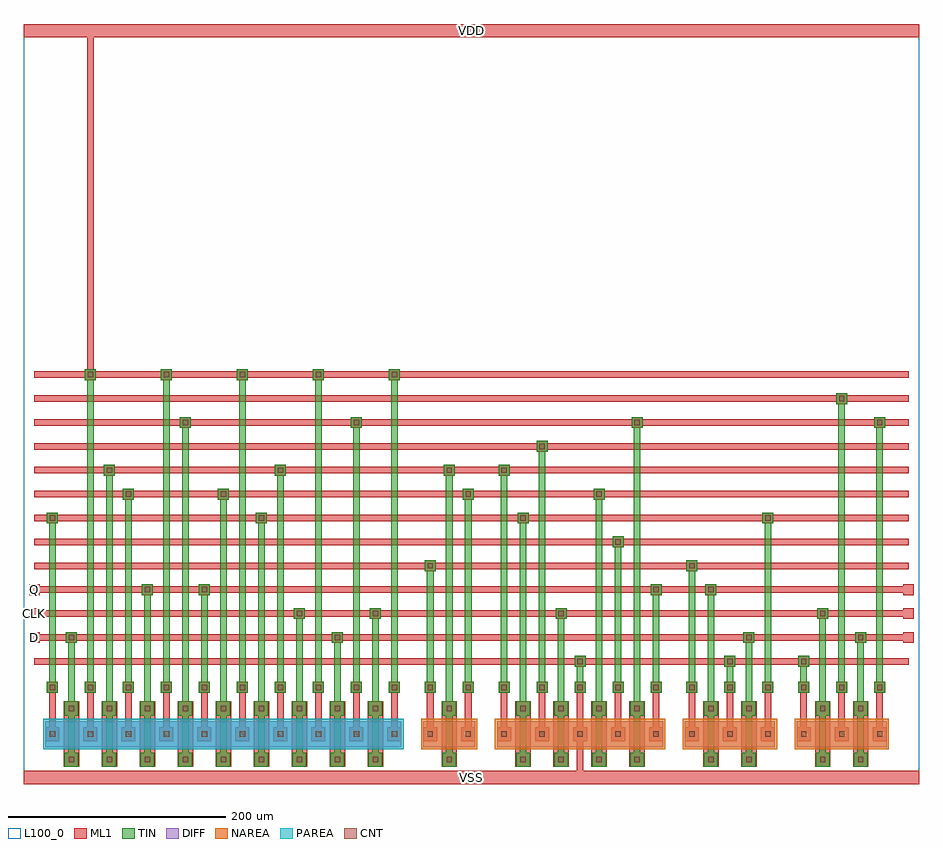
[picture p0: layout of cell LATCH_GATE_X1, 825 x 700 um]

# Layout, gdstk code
import gdstk
lib = gdstk.Library(unit=1e-6, precision=1e-09)
def R(c, l, rs):  # rectangles x0, y0, x1, y1
    for r in rs: c.add(gdstk.rectangle(r[:2], r[2:], *l))
def A(c, l, x, y, w, h, nx, ny, dx, dy):  # array of equal rectangles
    R(c, l, [(x+i*dx, y+j*dy, x+i*dx+w, y+j*dy+h) for i in range(nx) for j in range(ny)])
DIFF = (3, 0)
TIN = (5, 0)
CNT = (7, 0)
ML1 = (8, 0)
PAREA = (18, 0)
NAREA = (19, 0)
L100_0 = (100, 0)

latch_gate_x1 = lib.new_cell('LATCH_GATE_X1')
R(latch_gate_x1, DIFF, [(20,34,348,58), (368,34,416,58), (436,34,589,58), (609,34,692,58), (712,34,795,58)])
A(latch_gate_x1, TIN, 37.5, 16, 13, 13, 9, 2, 35, 47)
A(latch_gate_x1, TIN, 453.5, 16, 13, 13, 4, 2, 35, 47)
A(latch_gate_x1, TIN, 41, 28, 6, 37.5, 9, 1, 35, 0)
A(latch_gate_x1, TIN, 457, 28, 6, 37.5, 4, 1, 35, 0)
A(latch_gate_x1, TIN, 21.5, 84, 10, 10, 10, 1, 35, 0)
A(latch_gate_x1, TIN, 437.5, 84, 10, 10, 5, 1, 35, 0)
A(latch_gate_x1, TIN, 610.5, 84, 10, 10, 3, 1, 35, 0)
A(latch_gate_x1, TIN, 713.5, 84, 10, 10, 3, 1, 35, 0)
A(latch_gate_x1, TIN, 58.5, 89, 6, 288, 5, 1, 70, 0)
A(latch_gate_x1, TIN, 56.5, 372, 10, 10, 5, 1, 70, 0)
R(latch_gate_x1, TIN, [(385.5,16,398.5,29), (626.5,16,639.5,29), (661.5,16,674.5,29), (729.5,16,742.5,29), (764.5,16,777.5,29), (389,28,395,65.5), (630,28,636,65.5), (665,28,671,65.5), (733,28,739,65.5), (768,28,774,65.5), (385.5,63,398.5,76), (626.5,63,639.5,76), (661.5,63,674.5,76), (729.5,63,742.5,76), (764.5,63,777.5,76), (41,69.5,47,135), (76,69.5,82,289), (111,69.5,117,179), (146,69.5,152,333), (181,69.5,187,267), (216,69.5,222,245), (251,69.5,257,157), (286,69.5,292,135), (321,69.5,327,157), (389,69.5,395,289), (457,69.5,463,245), (492,69.5,498,157), (527,69.5,533,267), (562,69.5,568,333), (630,69.5,636,179), (665,69.5,671,135), (733,69.5,739,157), (768,69.5,774,135), (369.5,84,379.5,94), (404.5,84,414.5,94), (23.5,89,29.5,245), (93.5,89,99.5,267), (163.5,89,169.5,179), (233.5,89,239.5,289), (303.5,89,309.5,333), (371.5,89,377.5,201), (406.5,89,412.5,267), (439.5,89,445.5,289), (474.5,89,480.5,311), (509.5,89,515.5,113), (544.5,89,550.5,223), (579.5,89,585.5,179), (612.5,89,618.5,201), (647.5,89,653.5,113), (682.5,89,688.5,245), (715.5,89,721.5,113), (750.5,89,756.5,355), (785.5,89,791.5,333), (507.5,108,517.5,118), (645.5,108,655.5,118), (713.5,108,723.5,118), (39,130,49,140), (284,130,294,140), (663,130,673,140), (766,130,776,140), (249,152,259,162), (319,152,329,162), (490,152,500,162), (731,152,741,162), (109,174,119,184), (161.5,174,171.5,184), (577.5,174,587.5,184), (628,174,638,184), (369.5,196,379.5,206), (610.5,196,620.5,206), (542.5,218,552.5,228), (21.5,240,31.5,250), (214,240,224,250), (455,240,465,250), (680.5,240,690.5,250), (91.5,262,101.5,272), (179,262,189,272), (404.5,262,414.5,272), (525,262,535,272), (74,284,84,294), (231.5,284,241.5,294), (387,284,397,294), (437.5,284,447.5,294), (472.5,306,482.5,316), (144,328,154,338), (301.5,328,311.5,338), (560,328,570,338), (783.5,328,793.5,338), (748.5,350,758.5,360)])
A(latch_gate_x1, CNT, 41.5, 20, 5, 5, 9, 2, 35, 47)
A(latch_gate_x1, CNT, 457.5, 20, 5, 5, 4, 2, 35, 47)
A(latch_gate_x1, CNT, 24, 43.5, 5, 5, 10, 2, 35, 43)
A(latch_gate_x1, CNT, 440, 43.5, 5, 5, 5, 2, 35, 43)
A(latch_gate_x1, CNT, 613, 43.5, 5, 5, 3, 2, 35, 43)
A(latch_gate_x1, CNT, 716, 43.5, 5, 5, 3, 2, 35, 43)
A(latch_gate_x1, CNT, 59, 374.5, 5, 5, 5, 1, 70, 0)
R(latch_gate_x1, CNT, [(389.5,20,394.5,25), (630.5,20,635.5,25), (665.5,20,670.5,25), (733.5,20,738.5,25), (768.5,20,773.5,25), (372,43.5,377,48.5), (407,43.5,412,48.5), (389.5,67,394.5,72), (630.5,67,635.5,72), (665.5,67,670.5,72), (733.5,67,738.5,72), (768.5,67,773.5,72), (372,86.5,377,91.5), (407,86.5,412,91.5), (510,110.5,515,115.5), (648,110.5,653,115.5), (716,110.5,721,115.5), (41.5,132.5,46.5,137.5), (286.5,132.5,291.5,137.5), (665.5,132.5,670.5,137.5), (768.5,132.5,773.5,137.5), (251.5,154.5,256.5,159.5), (321.5,154.5,326.5,159.5), (492.5,154.5,497.5,159.5), (733.5,154.5,738.5,159.5), (111.5,176.5,116.5,181.5), (164,176.5,169,181.5), (580,176.5,585,181.5), (630.5,176.5,635.5,181.5), (372,198.5,377,203.5), (613,198.5,618,203.5), (545,220.5,550,225.5), (24,242.5,29,247.5), (216.5,242.5,221.5,247.5), (457.5,242.5,462.5,247.5), (683,242.5,688,247.5), (94,264.5,99,269.5), (181.5,264.5,186.5,269.5), (407,264.5,412,269.5), (527.5,264.5,532.5,269.5), (76.5,286.5,81.5,291.5), (234,286.5,239,291.5), (389.5,286.5,394.5,291.5), (440,286.5,445,291.5), (475,308.5,480,313.5), (146.5,330.5,151.5,335.5), (304,330.5,309,335.5), (562.5,330.5,567.5,335.5), (786,330.5,791,335.5), (751,352.5,756,357.5)])
A(latch_gate_x1, ML1, 37, 16, 14, 60, 9, 1, 35, 0)
A(latch_gate_x1, ML1, 37.5, 16, 13, 13, 9, 2, 35, 47)
A(latch_gate_x1, ML1, 453, 16, 14, 60, 4, 1, 35, 0)
A(latch_gate_x1, ML1, 453.5, 16, 13, 13, 4, 2, 35, 47)
A(latch_gate_x1, ML1, 20, 39.5, 13, 13, 10, 1, 35, 0)
A(latch_gate_x1, ML1, 436, 39.5, 13, 13, 5, 1, 35, 0)
A(latch_gate_x1, ML1, 609, 39.5, 13, 13, 3, 1, 35, 0)
A(latch_gate_x1, ML1, 712, 39.5, 13, 13, 3, 1, 35, 0)
A(latch_gate_x1, ML1, 23.5, 46, 6, 43, 10, 1, 35, 0)
A(latch_gate_x1, ML1, 439.5, 46, 6, 43, 5, 1, 35, 0)
A(latch_gate_x1, ML1, 612.5, 46, 6, 43, 3, 1, 35, 0)
A(latch_gate_x1, ML1, 715.5, 46, 6, 43, 3, 1, 35, 0)
A(latch_gate_x1, ML1, 21.5, 84, 10, 10, 10, 1, 35, 0)
A(latch_gate_x1, ML1, 437.5, 84, 10, 10, 5, 1, 35, 0)
A(latch_gate_x1, ML1, 610.5, 84, 10, 10, 3, 1, 35, 0)
A(latch_gate_x1, ML1, 713.5, 84, 10, 10, 3, 1, 35, 0)
A(latch_gate_x1, ML1, 10, 110, 805, 6, 1, 13, 0, 22)
A(latch_gate_x1, ML1, 5, 130, 10, 10, 1, 3, 0, 22)
A(latch_gate_x1, ML1, 810, 130, 10, 10, 1, 3, 0, 22)
A(latch_gate_x1, ML1, 56.5, 372, 10, 10, 5, 1, 70, 0)
R(latch_gate_x1, ML1, [(0,0,825,12), (509.5,3,515.5,92), (385,16,399,76), (385.5,16,398.5,29), (626,16,640,76), (626.5,16,639.5,29), (661,16,675,76), (661.5,16,674.5,29), (729,16,743,76), (729.5,16,742.5,29), (764,16,778,76), (764.5,16,777.5,29), (368,39.5,381,52.5), (403,39.5,416,52.5), (371.5,46,377.5,89), (406.5,46,412.5,89), (385.5,63,398.5,76), (626.5,63,639.5,76), (661.5,63,674.5,76), (729.5,63,742.5,76), (764.5,63,777.5,76), (369.5,84,379.5,94), (404.5,84,414.5,94), (507.5,108,517.5,118), (645.5,108,655.5,118), (713.5,108,723.5,118), (39,130,49,140), (284,130,294,140), (663,130,673,140), (766,130,776,140), (249,152,259,162), (319,152,329,162), (490,152,500,162), (731,152,741,162), (109,174,119,184), (161.5,174,171.5,184), (577.5,174,587.5,184), (628,174,638,184), (369.5,196,379.5,206), (610.5,196,620.5,206), (542.5,218,552.5,228), (21.5,240,31.5,250), (214,240,224,250), (455,240,465,250), (680.5,240,690.5,250), (91.5,262,101.5,272), (179,262,189,272), (404.5,262,414.5,272), (525,262,535,272), (74,284,84,294), (231.5,284,241.5,294), (387,284,397,294), (437.5,284,447.5,294), (472.5,306,482.5,316), (144,328,154,338), (301.5,328,311.5,338), (560,328,570,338), (783.5,328,793.5,338), (748.5,350,758.5,360), (58.5,374,64.5,697), (0,688,825,700)])
R(latch_gate_x1, PAREA, [(18,32,350,60)])
R(latch_gate_x1, NAREA, [(366,32,418,60), (434,32,591,60), (607,32,694,60), (710,32,797,60)])
R(latch_gate_x1, L100_0, [(0,0,825,700)])
latch_gate_x1.add(gdstk.Label('D', (10,135), layer=13, texttype=0))
latch_gate_x1.add(gdstk.Label('CLK', (10,157), layer=13, texttype=0))
latch_gate_x1.add(gdstk.Label('Q', (10,179), layer=13, texttype=0))
latch_gate_x1.add(gdstk.Label('VDD', (412.5,694), layer=13, texttype=0))
latch_gate_x1.add(gdstk.Label('VSS', (412.5,6), layer=13, texttype=0))

lib.write_gds('LATCH_GATE_X1.gds')
